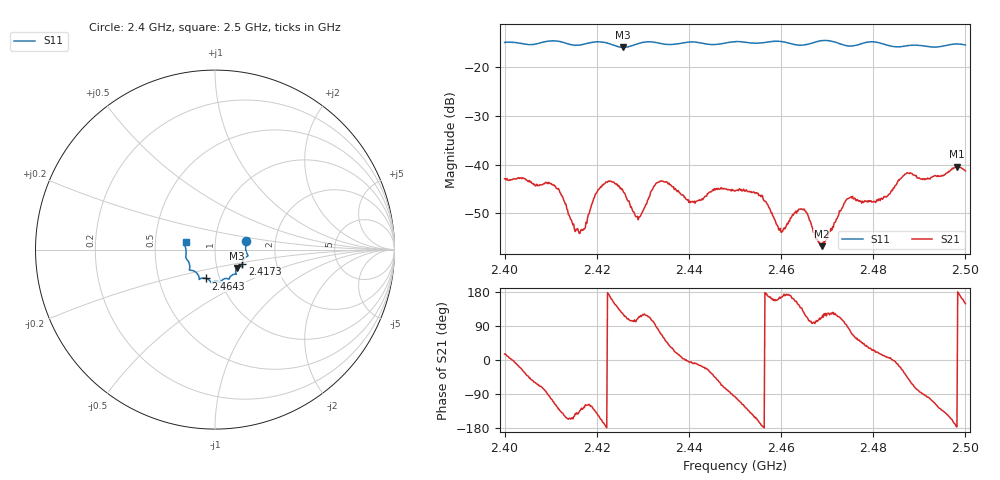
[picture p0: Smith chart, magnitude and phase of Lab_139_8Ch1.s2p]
# Hz S RI R 50
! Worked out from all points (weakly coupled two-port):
!   601 points, 2.4 GHz to 2.5 GHz, reference 50 ohm
!   highest |S21| = -40.45 dB at 2.4982 GHz (marker M1); lowest = -56.8 dB at 2.4688 GHz (marker M2)
!   lowest |S11| = -15.9 dB at 2.4257 GHz (marker M3), VSWR 1.38, Z = 62.4 - j13.1 ohm
!   |S11| at or under -10 dB: start of sweep to end of sweep
!   S12 and S22 are empty: the file has one direction only
!   S11 on the Smith chart (normalised r, x): 2.4 GHz: 1.41, +0.14; 2.4173 GHz: 1.34, -0.23; 2.4643 GHz: 0.86, -0.28; 2.5 GHz: 0.72, +0.06
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2.4e9  0.173 0.0494  0.00687 0.00194  0 0  0 0
2.4105e9  0.1837 -0.0341  -0.00206 -0.00581  0 0  0 0
2.415167e9  0.1581 -0.0575  -0.00182 -0.00113  0 0  0 0
2.416667e9  0.1528 -0.0746  -0.0013 -0.00171  0 0  0 0
2.417333e9  0.152 -0.082  -0.00126 -0.00177  0 0  0 0
2.421333e9  0.1536 -0.0958  -0.00591 -0.00161  0 0  0 0
2.425667e9  0.1227 -0.1024  -0.00282 0.0046  0 0  0 0
2.429e9  0.1158 -0.1312  -0.000969 0.00253  0 0  0 0
2.433333e9  0.1128 -0.1368  0.00107 0.00651  0 0  0 0
2.4405e9  0.0786 -0.1642  0.00411 -0.000354  0 0  0 0
2.45e9  0.0294 -0.1808  -0.000621 -0.0053  0 0  0 0
2.4555e9  -0.00266 -0.1773  -0.00471 -0.00103  0 0  0 0
2.46e9  -0.0235 -0.1823  -0.00194 0.000489  0 0  0 0
2.464333e9  -0.05 -0.1608  -0.00259 0.00236  0 0  0 0
2.466667e9  -0.0759 -0.1597  -0.00028 0.0023  0 0  0 0
2.468833e9  -0.0873 -0.166  -0.000533 0.00135  0 0  0 0
2.4745e9  -0.1017 -0.1309  0.000299 0.00446  0 0  0 0
2.483333e9  -0.1407 -0.0901  0.00489 0.000514  0 0  0 0
2.487167e9  -0.1564 -0.0554  0.00608 -0.00533  0 0  0 0
2.491667e9  -0.1612 -0.0286  -0.000952 -0.00703  0 0  0 0
2.498167e9  -0.1705 0.0319  -0.00948 -0.000542  0 0  0 0
2.5e9  -0.1639 0.0419  -0.00734 0.00447  0 0  0 0
